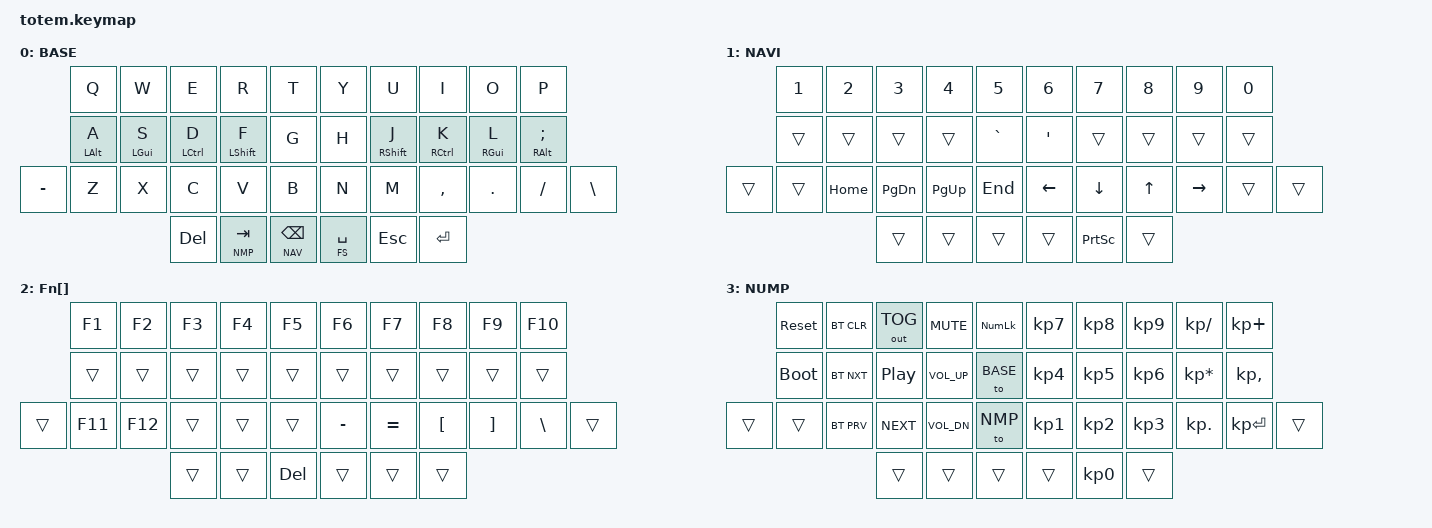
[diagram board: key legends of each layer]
//
//                                                        ▀▀▀▀▀     ▀▀▀▀▀          ▀▀█▀▀
//                                                        ▄▀▀▀▄  ▄  ▄▀▀▀▄  ▄  ▄▀▀▀▄  █  ▄▀▀▀▄
//                                                        █   █  █  █   █  █  █   █  █  █   █
//                                                         ▀▀▀   █   ▀▀▀   █   ▀▀▀   ▀   ▀▀▀
//                                                               █      ▄▄▄█▄▄▄    █   █  
//                                                               ▀      █  █  █     █▄█
//                                                             ▀▀▀▀▀    █  █  █      ▀
//                                                                      ▀  ▀  ▀
//
// ▄▄▄▄▄▄▄▄▄▄▄▄▄▄▄▄▄▄▄▄▄▄▄▄▄▄▄▄▄▄▄▄▄▄▄▄▄▄▄▄▄▄▄▄▄▄▄▄▄▄▄▄▄▄▄▄▄▄▄▄▄▄▄▄▄▄▄▄▄▄▄▄▄▄▄▄▄▄▄▄▄▄▄▄▄▄▄▄▄▄▄▄▄▄▄▄▄▄▄▄▄▄▄▄▄▄▄▄▄▄▄▄▄▄▄▄▄▄▄▄▄▄▄▄▄▄▄▄▄▄▄▄▄▄▄▄▄▄▄▄▄▄▄▄▄▄▄▄▄

#include <behaviors.dtsi>
#include <dt-bindings/zmk/keys.h>
#include <dt-bindings/zmk/bt.h>
#include <dt-bindings/zmk/outputs.h>
#define BASE 0
#define NAV  1
#define FS  2
#define NMP  3

&mt {
  quick-tap-ms = <100>;
  global-quick-tap;
  flavor = "tap-preferred";
  tapping-term-ms = <210>;
};

/ {
     combos {
            compatible = "zmk,combos";
            combo_esc {
                timeout-ms = <50>;
                key-positions = <0 1>;
                bindings = <&kp ESC>;
            };
            combo_boot {
                timeout-ms = <50>;
                key-positions = <0 1 34>;
                bindings = <&bootloader>;
            };
    };


        keymap {
                compatible = "zmk,keymap";
// ▄▄▄▄▄▄▄▄▄▄▄▄▄▄▄▄▄▄▄▄▄▄▄▄▄▄▄▄▄▄▄▄▄▄▄▄▄▄▄▄▄▄▄▄▄▄▄▄▄▄▄▄▄▄▄▄▄▄▄▄▄▄▄▄▄▄▄▄▄▄▄▄▄▄▄▄▄▄▄▄▄▄▄▄▄▄▄▄▄▄▄▄▄▄▄▄▄▄▄▄▄▄▄▄▄▄▄▄▄▄▄▄▄▄▄▄▄▄▄▄▄▄▄▄▄▄▄▄▄▄▄▄▄▄▄▄▄▄▄▄▄▄▄▄▄▄▄▄▄

                base_layer {
// ┏━━━━━━━━━━━━━━━━━━━━━━━━━━━━━━━━━━━━━━━┓
label= "BASE"                              ;
// ┗━━━━━━━━━━━━━━━━━━━━━━━━━━━━━━━━━━━━━━━┛
//             ┏━━━━━━━━━━━┳━━━━━━━━━━━┳━━━━━━━━━━━┳━━━━━━━━━━━┳━━━━━━━━━━━┓   ┏━━━━━━━━━━━┳━━━━━━━━━━━┳━━━━━━━━━━━┳━━━━━━━━━━━┳━━━━━━━━━━━┓
//             ┃     Q     ┃     W     ┃     E     ┃     R     ┃     T     ┃   ┃     Y     ┃     U     ┃     I     ┃     O     ┃     P     ┃
//             ┣━━━━━━━━━━━╋━━━━━━━━━━━╋━━━━━━━━━━━╋━━━━━━━━━━━╋━━━━━━━━━━━┫   ┣━━━━━━━━━━━╋━━━━━━━━━━━╋━━━━━━━━━━━╋━━━━━━━━━━━╋━━━━━━━━━━━┫
//             ┃     A     ┃     S     ┃     D     ┃     F     ┃     G     ┃   ┃     H     ┃     J     ┃     K     ┃     L     ┃     ;     ┃
// ┏━━━━━━━━━━━╋━━━━━━━━━━━╋━━━━━━━━━━━╋━━━━━━━━━━━╋━━━━━━━━━━━╋━━━━━━━━━━━┫   ┣━━━━━━━━━━━╋━━━━━━━━━━━╋━━━━━━━━━━━╋━━━━━━━━━━━╋━━━━━━━━━━━╋━━━━━━━━━━━┓
// ┃     -     ┃     Z     ┃     X     ┃     C     ┃     V     ┃     B     ┃   ┃     N     ┃     M     ┃     ,     ┃     .     ┃     /     ┃     \     ┃
// ┗━━━━━━━━━━━┻━━━━━━━━━━━┻━━━━━━━━━━━╋━━━━━━━━━━━╋━━━━━━━━━━━╋━━━━━━━━━━━┫   ┣━━━━━━━━━━━╋━━━━━━━━━━━╋━━━━━━━━━━━╋━━━━━━━━━━━┻━━━━━━━━━━━┻━━━━━━━━━━━┛
//                                     ┃    DEL    ┃    TAB    ┃    BSPC   ┃   ┃   SPACE   ┃    ESC    ┃  RETURN   ┃
//                                     ┗━━━━━━━━━━━┻━━━━━━━━━━━┻━━━━━━━━━━━┛   ┗━━━━━━━━━━━┻━━━━━━━━━━━┻━━━━━━━━━━━┛
 bindings = <
// ╷           ╷           ╷           ╷           ╷           ╷           ╷   ╷           ╷           ╷           ╷           ╷           ╷           ╷

                &kp Q       &kp W       &kp E       &kp R       &kp T           &kp Y       &kp U       &kp I       &kp O       &kp P
                &mt LALT A  &mt LGUI S  &mt LCTRL D &mt LSHFT F &kp G           &kp H       &mt RSHFT J &mt RCTRL K &mt RGUI L  &mt RALT SEMI
    &kp MINUS   &kp Z       &kp X       &kp C       &kp V       &kp B           &kp N       &kp M       &kp COMMA   &kp DOT     &kp FSLH    &kp BSLH
                                        &kp DEL     &lt NMP TAB  &lt NAV BSPC   &lt FS SPACE  &kp ESC   &kp RET
                        >;
                };

// ▄▄▄▄▄▄▄▄▄▄▄▄▄▄▄▄▄▄▄▄▄▄▄▄▄▄▄▄▄▄▄▄▄▄▄▄▄▄▄▄▄▄▄▄▄▄▄▄▄▄▄▄▄▄▄▄▄▄▄▄▄▄▄▄▄▄▄▄▄▄▄▄▄▄▄▄▄▄▄▄▄▄▄▄▄▄▄▄▄▄▄▄▄▄▄▄▄▄▄▄▄▄▄▄▄▄▄▄▄▄▄▄▄▄▄▄▄▄▄▄▄▄▄▄▄▄▄▄▄▄▄▄▄▄▄▄▄▄▄▄▄▄▄▄▄▄▄▄▄


                nav_layer {
// ┏━━━━━━━━━━━━━━━━━━━━━━━━━━━━━━━━━━━━━━━┓
label= "NAVI"                              ;
// ┗━━━━━━━━━━━━━━━━━━━━━━━━━━━━━━━━━━━━━━━┛
//             ┏━━━━━━━━━━━┳━━━━━━━━━━━┳━━━━━━━━━━━┳━━━━━━━━━━━┳━━━━━━━━━━━┓   ┏━━━━━━━━━━━┳━━━━━━━━━━━┳━━━━━━━━━━━┳━━━━━━━━━━━┳━━━━━━━━━━━┓
//             ┃     1     ┃     2     ┃     3     ┃     4     ┃     5     ┃   ┃     6     ┃     7     ┃     8     ┃     9     ┃     0     ┃
//             ┣━━━━━━━━━━━╋━━━━━━━━━━━╋━━━━━━━━━━━╋━━━━━━━━━━━╋━━━━━━━━━━━┫   ┣━━━━━━━━━━━╋━━━━━━━━━━━╋━━━━━━━━━━━╋━━━━━━━━━━━╋━━━━━━━━━━━┫
//             ┃           ┃           ┃           ┃           ┃     `     ┃   ┃     '     ┃           ┃           ┃           ┃           ┃
// ┏━━━━━━━━━━━╋━━━━━━━━━━━╋━━━━━━━━━━━╋━━━━━━━━━━━╋━━━━━━━━━━━╋━━━━━━━━━━━┫   ┣━━━━━━━━━━━╋━━━━━━━━━━━╋━━━━━━━━━━━╋━━━━━━━━━━━╋━━━━━━━━━━━╋━━━━━━━━━━━┓
// ┃           ┃           ┃   HOME    ┃  P DOWN   ┃   P UP    ┃    END    ┃   ┃   LEFT    ┃   DOWN    ┃     UP    ┃   RIGHT   ┃           ┃           ┃
// ┗━━━━━━━━━━━┻━━━━━━━━━━━┻━━━━━━━━━━━╋━━━━━━━━━━━╋━━━━━━━━━━━╋━━━━━━━━━━━┫   ┣━━━━━━━━━━━╋━━━━━━━━━━━╋━━━━━━━━━━━╋━━━━━━━━━━━┻━━━━━━━━━━━┻━━━━━━━━━━━┛
//                                     ┃           ┃           ┃           ┃   ┃           ┃   PSCRN   ┃           ┃
//                                     ┗━━━━━━━━━━━┻━━━━━━━━━━━┻━━━━━━━━━━━┛   ┗━━━━━━━━━━━┻━━━━━━━━━━━┻━━━━━━━━━━━┛
 bindings = <
// ╷           ╷           ╷           ╷           ╷           ╷           ╷   ╷           ╷           ╷           ╷           ╷           ╷           ╷

                &kp N1      &kp N2      &kp N3      &kp N4      &kp N5          &kp N6      &kp N7      &kp N8      &kp N9      &kp N0
                &trans      &trans      &trans      &trans      &kp GRAVE       &kp SQT     &trans      &trans      &trans      &trans
    &trans      &trans      &kp HOME    &kp PG_DN   &kp PG_UP   &kp END         &kp LEFT    &kp DOWN    &kp UP      &kp RIGHT   &trans &trans      
                                        &trans      &trans      &trans          &trans      &kp PSCRN   &trans      
                        >;
                };

// ▄▄▄▄▄▄▄▄▄▄▄▄▄▄▄▄▄▄▄▄▄▄▄▄▄▄▄▄▄▄▄▄▄▄▄▄▄▄▄▄▄▄▄▄▄▄▄▄▄▄▄▄▄▄▄▄▄▄▄▄▄▄▄▄▄▄▄▄▄▄▄▄▄▄▄▄▄▄▄▄▄▄▄▄▄▄▄▄▄▄▄▄▄▄▄▄▄▄▄▄▄▄▄▄▄▄▄▄▄▄▄▄▄▄▄▄▄▄▄▄▄▄▄▄▄▄▄▄▄▄▄▄▄▄▄▄▄▄▄▄▄▄▄▄▄▄▄▄▄


                f_layer {
// ┏━━━━━━━━━━━━━━━━━━━━━━━━━━━━━━━━━━━━━━━┓
label= "Fn[]"                              ;
// ┗━━━━━━━━━━━━━━━━━━━━━━━━━━━━━━━━━━━━━━━┛
//             ┏━━━━━━━━━━━┳━━━━━━━━━━━┳━━━━━━━━━━━┳━━━━━━━━━━━┳━━━━━━━━━━━┓   ┏━━━━━━━━━━━┳━━━━━━━━━━━┳━━━━━━━━━━━┳━━━━━━━━━━━┳━━━━━━━━━━━┓
//             ┃     F1    ┃     F2    ┃     F3    ┃     F4    ┃     F5    ┃   ┃     F6    ┃     F7    ┃     F8    ┃     F9    ┃    F10    ┃
//             ┣━━━━━━━━━━━╋━━━━━━━━━━━╋━━━━━━━━━━━╋━━━━━━━━━━━╋━━━━━━━━━━━┫   ┣━━━━━━━━━━━╋━━━━━━━━━━━╋━━━━━━━━━━━╋━━━━━━━━━━━╋━━━━━━━━━━━┫
//             ┃           ┃           ┃           ┃           ┃           ┃   ┃           ┃           ┃           ┃           ┃           ┃
// ┏━━━━━━━━━━━╋━━━━━━━━━━━╋━━━━━━━━━━━╋━━━━━━━━━━━╋━━━━━━━━━━━╋━━━━━━━━━━━┫   ┣━━━━━━━━━━━╋━━━━━━━━━━━╋━━━━━━━━━━━╋━━━━━━━━━━━╋━━━━━━━━━━━╋━━━━━━━━━━━┓
// ┃           ┃    F11    ┃    F12    ┃           ┃           ┃           ┃   ┃    -      ┃     =     ┃     [{    ┃     }]    ┃     \     ┃           ┃
// ┗━━━━━━━━━━━┻━━━━━━━━━━━┻━━━━━━━━━━━╋━━━━━━━━━━━╋━━━━━━━━━━━╋━━━━━━━━━━━┫   ┣━━━━━━━━━━━╋━━━━━━━━━━━╋━━━━━━━━━━━╋━━━━━━━━━━━┻━━━━━━━━━━━┻━━━━━━━━━━━┛
//                                     ┃           ┃           ┃    DEL    ┃   ┃           ┃           ┃           ┃
//                                     ┗━━━━━━━━━━━┻━━━━━━━━━━━┻━━━━━━━━━━━┛   ┗━━━━━━━━━━━┻━━━━━━━━━━━┻━━━━━━━━━━━┛
 bindings = <
// ╷           ╷           ╷           ╷           ╷           ╷           ╷   ╷           ╷           ╷           ╷           ╷           ╷           ╷

                &kp F1      &kp F2      &kp F3      &kp F4      &kp F5          &kp F6      &kp F7      &kp F8      &kp F9      &kp F10       
                &trans      &trans      &trans      &trans      &trans          &trans      &trans      &trans      &trans      &trans 
    &trans      &kp F11     &kp F12     &trans      &trans      &trans          &kp MINUS   &kp EQUAL   &kp LBKT    &kp RBKT    &kp BSLH   &trans         
                                        &trans      &trans      &kp DEL         &trans      &trans      &trans      
                        >;
                };

// ▄▄▄▄▄▄▄▄▄▄▄▄▄▄▄▄▄▄▄▄▄▄▄▄▄▄▄▄▄▄▄▄▄▄▄▄▄▄▄▄▄▄▄▄▄▄▄▄▄▄▄▄▄▄▄▄▄▄▄▄▄▄▄▄▄▄▄▄▄▄▄▄▄▄▄▄▄▄▄▄▄▄▄▄▄▄▄▄▄▄▄▄▄▄▄▄▄▄▄▄▄▄▄▄▄▄▄▄▄▄▄▄▄▄▄▄▄▄▄▄▄▄▄▄▄▄▄▄▄▄▄▄▄▄▄▄▄▄▄▄▄▄▄▄▄▄▄▄▄


                adjust_layer {
// ┏━━━━━━━━━━━━━━━━━━━━━━━━━━━━━━━━━━━━━━━┓
label= "NUMP"                              ;
// ┗━━━━━━━━━━━━━━━━━━━━━━━━━━━━━━━━━━━━━━━┛
//             ┏━━━━━━━━━━━┳━━━━━━━━━━━┳━━━━━━━━━━━┳━━━━━━━━━━━┳━━━━━━━━━━━┓   ┏━━━━━━━━━━━┳━━━━━━━━━━━┳━━━━━━━━━━━┳━━━━━━━━━━━┳━━━━━━━━━━━┓
//             ┃   RESET   ┃ BT CLEAR  ┃  OUT TOG  ┃   Mute    ┃   N Lock  ┃   ┃    7      ┃     8     ┃     9     ┃     /     ┃     +     ┃
//             ┣━━━━━━━━━━━╋━━━━━━━━━━━╋━━━━━━━━━━━╋━━━━━━━━━━━╋━━━━━━━━━━━┫   ┣━━━━━━━━━━━╋━━━━━━━━━━━╋━━━━━━━━━━━╋━━━━━━━━━━━╋━━━━━━━━━━━┫
//             ┃ BOOTLOAD  ┃ BT NEXT   ┃ play pause┃    vol +  ┃    L 0    ┃   ┃    4      ┃     5     ┃     6     ┃     *     ┃      .    ┃
// ┏━━━━━━━━━━━╋━━━━━━━━━━━╋━━━━━━━━━━━╋━━━━━━━━━━━╋━━━━━━━━━━━╋━━━━━━━━━━━┫   ┣━━━━━━━━━━━╋━━━━━━━━━━━╋━━━━━━━━━━━╋━━━━━━━━━━━╋━━━━━━━━━━━╋━━━━━━━━━━━┓
// ┃           ┃           ┃ BT PREV   ┃   next    ┃    vol -  ┃    L 3    ┃   ┃    1      ┃     2     ┃     3     ┃           ┃   ENTER   ┃           ┃
// ┗━━━━━━━━━━━┻━━━━━━━━━━━┻━━━━━━━━━━━╋━━━━━━━━━━━╋━━━━━━━━━━━╋━━━━━━━━━━━┫   ┣━━━━━━━━━━━╋━━━━━━━━━━━╋━━━━━━━━━━━╋━━━━━━━━━━━┻━━━━━━━━━━━┻━━━━━━━━━━━┛
//                                     ┃           ┃           ┃           ┃   ┃           ┃     0     ┃           ┃
//                                     ┗━━━━━━━━━━━┻━━━━━━━━━━━┻━━━━━━━━━━━┛   ┗━━━━━━━━━━━┻━━━━━━━━━━━┻━━━━━━━━━━━┛
 bindings = <
// ╷           ╷           ╷           ╷           ╷           ╷           ╷   ╷           ╷           ╷           ╷           ╷           ╷           ╷

                &sys_reset  &bt BT_CLR &out OUT_TOG &kp C_MUTE   &kp KP_NLCK     &kp KP_N7   &kp KP_N8   &kp KP_N9   &kp KP_SLASH    &kp KP_PLUS
                &bootloader &bt BT_NXT  &kp C_PP    &kp C_VOL_UP &to BASE        &kp KP_N4   &kp KP_N5   &kp KP_N6   &kp KP_MULTIPLY &kp KP_COMMA
    &trans      &trans      &bt BT_PRV  &kp C_NEXT  &kp C_VOL_DN &to NMP         &kp KP_N1   &kp KP_N2   &kp KP_N3   &kp KP_DOT      &kp KP_ENTER     &trans
                                        &trans      &trans      &trans          &trans      &kp KP_N0   &trans
                        >;
                };
        };
};
